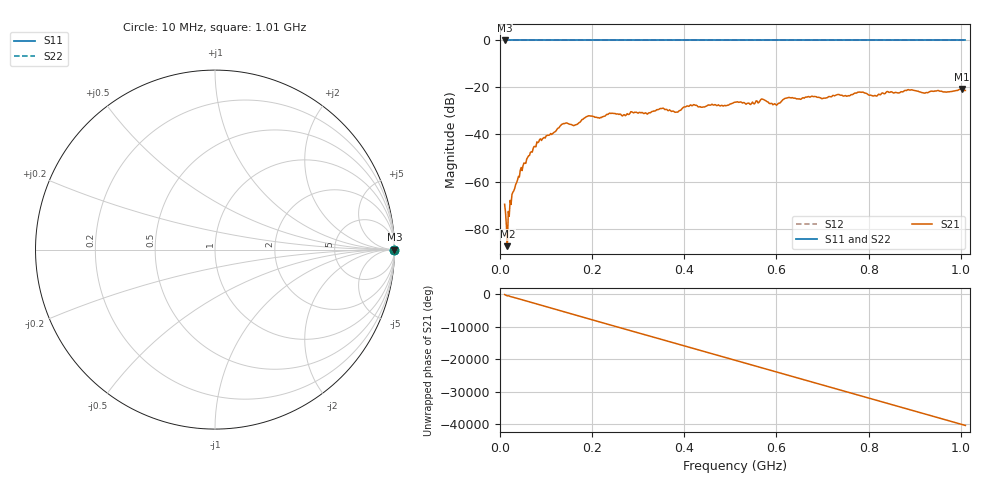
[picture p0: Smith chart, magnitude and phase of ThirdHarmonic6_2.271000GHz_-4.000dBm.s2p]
! 8/17/2025 2:52:21 AM
! C:\ANRITSUVNA\TEMP\TEMP.S2P
! CHANNEL.1
! TR.MEASUREMENT
! RAW.DATA
! RF.CORRECTION.OFF
! AVERAGING.OFF
! IF.BANDWIDTH: 5KHZ
! SWEEPTYPE:  FREQ.SWEEP(Linear)
! Reference Plane Port Info
! PORT:  PORT1  PORT2
! DISTANCE:  0  m  0  m
! TIME:  0  s  0  s
! PHASE.OFFSET:  0  deg.  0  deg.
! LOSS:  0  dB  0  dB
! REF.LOSS:  0  dB  0  dB
! REF.FREQ:  0  Hz  0  Hz
! Power Info
! POWER:  -20  dBm  -20  dBm
! EFF.POWER:  -20  dBm  -20  dBm
! SOURCE.ATTEN:  0  dB  0  dB
! TEST.ATTEN:  0  dB  0  dB
# GHZ S RI R 50.0
! FREQ.GHZ  S11RE  S11IM  S21RE  S21IM  S12RE  S12IM  S22RE  S22IM
!; PortSelection: Port_12
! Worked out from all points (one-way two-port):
!   501 points, 10 MHz to 1.01 GHz, reference 50 ohm
!   highest |S21| = -20.63 dB at 1.002 GHz (marker M1); lowest = -87.5 dB at 16 MHz (marker M2)
!   lowest |S11| = 0.0 dB at 10 MHz (marker M3)
!   |S11| at or under -10 dB: nowhere
!   |S22| runs from 0.0 to 0.0 dB; largest |S21 - S12| = 1.1
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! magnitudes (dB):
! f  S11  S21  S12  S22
! 10 MHz  0.0  -69.7  0.0  0.0
! 16 MHz  0.0  -87.5  0.0  0.0
! 26 MHz  0.0  -65.5  0.0  0.0
! 42 MHz  0.0  -58.1  0.0  0.0
! 84 MHz  0.0  -43.2  0.0  0.0
! 136 MHz  0.0  -35.5  0.0  0.0
! 162 MHz  0.0  -36.1  0.0  0.0
! 178 MHz  0.0  -33.6  0.0  0.0
! 192 MHz  0.0  -32.1  0.0  0.0
! 344 MHz  0.0  -29.4  0.0  0.0
! 382 MHz  0.0  -30.5  0.0  0.0
! 416 MHz  0.0  -27.7  0.0  0.0
! 510 MHz  0.0  -26.3  0.0  0.0
! 570 MHz  0.0  -25.0  0.0  0.0
! 598 MHz  0.0  -27.2  0.0  0.0
! 624 MHz  0.0  -24.4  0.0  0.0
! 678 MHz  0.0  -23.8  0.0  0.0
! 782 MHz  0.0  -22.0  0.0  0.0
! 814 MHz  0.0  -23.4  0.0  0.0
! 844 MHz  0.0  -22.1  0.0  0.0
! 1.002 GHz  0.0  -20.6  0.0  0.0
! 1.01 GHz  0.0  -21.3  0.0  0.0
